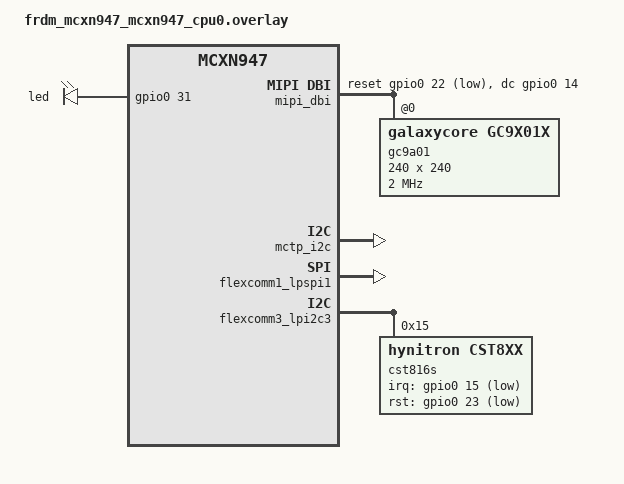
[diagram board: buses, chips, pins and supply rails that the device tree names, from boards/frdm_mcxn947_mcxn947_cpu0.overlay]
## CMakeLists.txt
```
# SPDX-License-Identifier: Apache-2.0

cmake_minimum_required(VERSION 3.20.0)

find_package(Zephyr REQUIRED HINTS $ENV{ZEPHYR_BASE})
project(display)

target_include_directories(app PRIVATE
    ../../mctp/common/include
)

FILE(GLOB app_sources src/*.c)
target_sources(app PRIVATE
    ${app_sources}
    ../../mctp/common/mctp.c
)
```

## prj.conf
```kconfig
CONFIG_LV_Z_MEM_POOL_SIZE=16384
CONFIG_MAIN_STACK_SIZE=4096

CONFIG_DISPLAY=y
CONFIG_DISPLAY_LOG_LEVEL_ERR=y

CONFIG_LOG=y

CONFIG_LVGL=y
CONFIG_LV_USE_LOG=y
CONFIG_LV_USE_LABEL=y
CONFIG_LV_USE_ARC=y
CONFIG_LV_USE_MONKEY=y
CONFIG_LV_FONT_MONTSERRAT_48=y

CONFIG_I2C=y
CONFIG_I2C_TARGET=y
CONFIG_MCTP=y
CONFIG_MCTP_I2C_GPIO_TARGET=y
CONFIG_SERIAL=y
CONFIG_UART_ASYNC_API=y
CONFIG_MCTP_UART=y
CONFIG_REQUIRES_FLOAT_PRINTF=y

CONFIG_LOG_BUFFER_SIZE=4096
```

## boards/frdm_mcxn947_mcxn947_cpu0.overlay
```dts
#include <zephyr/dt-bindings/display/panel.h>
#include <freq.h>

//mctp_serial: &arduino_serial {};

/ {

	/* VCC J3.4 */
	/* GND J3.14 */

	chosen {
		zephyr,display = &gc9a01;
		zephyr,touch = &cst816s;
	};

	mipi_dbi {
		compatible = "zephyr,mipi-dbi-spi";
		status = "okay";
		spi-dev = <&flexcomm1_lpspi1>;
		dc-gpios = <&gpio0 14 GPIO_ACTIVE_HIGH>; /* J4.6 */
		reset-gpios = <&gpio0 22 GPIO_ACTIVE_LOW>; /* J4.8 */
		#address-cells = <1>;
		#size-cells = <0>;
		write-only;

		gc9a01: gc9a01@0 {
			/* SCK J2.12 */
			/* MOSI J2.8 */
			/* MISO not used (J2.10) */
			/* CS J2.6 Buggy, connect to GND instead (J2.14) */
			compatible = "galaxycore,gc9x01x";
			reg = <0>;
			mipi-max-frequency = <DT_FREQ_M(2) >;
			pixel-format = <PANEL_PIXEL_FORMAT_RGB_565>;
			width = <240>;
			height = <240>;
			display-inversion;
		};
	};

	lvgl_pointer {
		compatible = "zephyr,lvgl-pointer-input";
		status = "okay";
		input = <&cst816s>;
	};

	lcd_backlight {
		compatible = "gpio-leds";
		status = "okay";

		led: led {
			gpios = <&gpio0 31 GPIO_ACTIVE_HIGH>; /* J1.16 */
		};
	};

	mctp_i2c: mctp_i2c {
		/* SDA J8.4 */
		/* SCL J8.3 */
		compatible = "zephyr,mctp-i2c-gpio-target";
		i2c = <&flexcomm2_lpi2c2>;
		i2c-addr = <70>;
		endpoint-id = <12>;
		/* GPIO J8.8 */
		endpoint-gpios = <&gpio0 7 GPIO_ACTIVE_HIGH>;
	};
};

&flexcomm1_lpspi1 {
	status = "okay";
};

&flexcomm3_lpi2c3 {
	status = "okay";
	/* SDA J5.6 */
	/* SCL J5.5 */
	cst816s: cst816s@15 {
		compatible = "hynitron,cst8xx";
		status = "okay";
		reg = <0x15>;
		irq-gpios = <&gpio0 15 GPIO_ACTIVE_LOW>; /* J4.10 */
		rst-gpios = <&gpio0 23 GPIO_ACTIVE_LOW>; /* J4.12 */
	};
};
```

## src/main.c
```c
/*
 * Copyright (c) 2018 Jan Van Winkel <jan.van_winkel@dxplore.eu>
 *
 * SPDX-License-Identifier: Apache-2.0
 */

#include <zephyr/device.h>
#include <zephyr/devicetree.h>
#include <zephyr/drivers/display.h>
#include <zephyr/drivers/gpio.h>
#include <zephyr/drivers/led.h>
#include <lvgl.h>
#include <stdio.h>
#include <string.h>
#include <zephyr/kernel.h>
#include <lvgl_input_device.h>

#include <math.h>
#include <libmctp.h>
#include <libmctp-cmds.h>
#include <control.h>
#include <zephyr/pmci/mctp/mctp_i2c_gpio_target.h>
#include <zephyr/pmci/mctp/mctp_uart.h>

#include <mctp.h>

#define LOG_LEVEL CONFIG_LOG_DEFAULT_LEVEL
#include <zephyr/logging/log.h>
LOG_MODULE_REGISTER(app);

#if DT_NODE_HAS_STATUS_OKAY(DT_NODELABEL(mctp_i2c))
MCTP_I2C_GPIO_TARGET_DT_DEFINE(mctp_endpoint, DT_NODELABEL(mctp_i2c));
#define LOCAL_EID mctp_endpoint.endpoint_id
#elif DT_NODE_HAS_STATUS_OKAY(DT_NODELABEL(mctp_serial))
MCTP_UART_DT_DEFINE(mctp_endpoint, DEVICE_DT_GET(DT_NODELABEL(mctp_serial)));
#define LOCAL_EID 12
#endif

#define EC_EID 20

#define MCTP_MESSAGE_TYPE_MASK 0x7F

struct temperature_data {
	double temperature;
	bool updated;
} __packed;
struct temperature_data temperature;
bool use_farenheit;

struct message {
	uintptr_t fifo;
	size_t len;
	uint8_t src_eid;
	bool tag_owner;
	uint8_t msg_tag;
	struct mctp_binding *binding;
	uint8_t data[];
};

K_FIFO_DEFINE(rx_fifo);

static void rx_message_handler(struct k_work *work)
{
	ARG_UNUSED(work);

	while (true) {
		struct message *rx_msg = k_fifo_get(&rx_fifo, K_NO_WAIT);
		if (!rx_msg) {
			break;
		}

		LOG_DBG("Processing MCTP control message from mctp endpoint %d, len %zu", rx_msg->src_eid, rx_msg->len);
		LOG_HEXDUMP_DBG(rx_msg->data, rx_msg->len, "MCTP control message");

		mctp_control_handler(rx_msg->binding->bus, rx_msg->src_eid, rx_msg->tag_owner,
				     rx_msg->msg_tag, rx_msg->data, rx_msg->len);

		free(rx_msg);
	}
}
K_WORK_DEFINE(rx_message_work, rx_message_handler);

static void rx_message(uint8_t eid, bool tag_owner, uint8_t msg_tag, void *data, void *msg,
		       size_t len)
{

	uint8_t *msg_buf = (uint8_t *)msg;

	if ((msg_buf[0] & MCTP_MESSAGE_TYPE_MASK) == MCTP_CTRL_HDR_MSG_TYPE) {
		struct message *rx_msg = malloc(sizeof(struct message) + len);

		if (!rx_msg) {
			LOG_ERR("Failed to allocate memory for incoming message");
			return;
		}
		rx_msg->len = len;
		rx_msg->src_eid = eid;
		rx_msg->tag_owner = tag_owner;
		rx_msg->msg_tag = msg_tag;
		rx_msg->binding = data;
		memcpy(rx_msg->data, msg_buf, len);
		k_fifo_put(&rx_fifo, rx_msg);
		k_work_submit(&rx_message_work);

		return;
	}

	if (eid == EC_EID) {
		temperature = *(struct temperature_data *)msg;
		LOG_INF("Controller EID message received: %.2f Up-to-date: %d", temperature.temperature,
			temperature.updated);
	}
}

#if DT_NODE_EXISTS(DT_NODELABEL(led))
static const struct device *lcd_bl = DEVICE_DT_GET(DT_PARENT(DT_NODELABEL(led)));
#endif

static void temperature_label_click_cb(lv_event_t *e)
{
	use_farenheit = !use_farenheit;

	LOG_INF("Temperature unit changed to %s", use_farenheit ? "Farenheit" : "Celsius");
}

int main(void)
{
	char temperature_str[12] = {0};
	const struct device *display_dev;
	lv_obj_t *temperature_label;
	int ret;
	lv_obj_t *arc;
	lv_style_t style_indic, style_text;
	struct mctp *mctp_ctx;

	LOG_INF("Display EID:%d on %s\n", LOCAL_EID, CONFIG_BOARD_TARGET);

	display_dev = DEVICE_DT_GET(DT_CHOSEN(zephyr_display));
	if (!device_is_ready(display_dev)) {
		LOG_ERR("Device not ready, aborting test");
		return 0;
	}

#if DT_NODE_EXISTS(DT_NODELABEL(led))
	led_on(lcd_bl, 0);
#endif

	mctp_ctx = mctp_init();
	__ASSERT_NO_MSG(mctp_ctx != NULL);
	mctp_register_bus(mctp_ctx, &mctp_endpoint.binding, LOCAL_EID);
	/* For some reason, libmctp doesn't add the base type by default */
	mctp_control_add_type(mctp_ctx, MCTP_MSG_TYPE_NUMBER_MCTP_BASE);
	mctp_set_rx_all(mctp_ctx, rx_message, &mctp_endpoint.binding);
#if DT_NODE_HAS_STATUS_OKAY(DT_NODELABEL(mctp_serial))
	mctp_uart_start_rx(&mctp_endpoint);
#endif

	lv_style_init(&style_indic);

	arc = lv_arc_create(lv_screen_active());
	lv_obj_center(arc);
	lv_obj_add_style(arc, &style_indic, LV_PART_INDICATOR);
	lv_obj_set_size(arc, 220, 220);
	lv_obj_remove_style(arc, NULL, LV_PART_KNOB);
	lv_obj_clear_flag(arc, LV_OBJ_FLAG_CLICKABLE);

	lv_style_init(&style_text);
	lv_style_set_text_font(&style_text, &lv_font_montserrat_48);

	temperature_label = lv_label_create(lv_screen_active());
	lv_obj_add_style(temperature_label, &style_text, 0);
	lv_label_set_text(temperature_label, "--");
	lv_obj_center(temperature_label);
	lv_obj_add_flag(temperature_label, LV_OBJ_FLAG_CLICKABLE);
	lv_obj_add_event_cb(temperature_label, temperature_label_click_cb, LV_EVENT_CLICKED, NULL);

	lv_timer_handler();
	ret = display_blanking_off(display_dev);
	if (ret < 0 && ret != -ENOSYS) {
		LOG_ERR("Failed to turn blanking off (error %d)", ret);
		return 0;
	}

	while (1) {
		double temp_clamped = temperature.temperature;

		if (isnan(temp_clamped) || temp_clamped < 0.0) {
			temp_clamped = 0.0;
		} else if (temp_clamped > 100.0) {
			temp_clamped = 100.0;
		}
		if (use_farenheit) {
			double temp_f = (temperature.temperature * 9.0 / 5.0) + 32.0;
			sprintf(temperature_str, "%.2f°F", temp_f);
		} else {
			sprintf(temperature_str, "%.2f°C", temperature.temperature);
		}
		lv_label_set_text(temperature_label, temperature_str);
		lv_arc_set_value(arc, (int)temp_clamped);

		if (temperature.updated) {
			lv_style_set_text_color(&style_text, lv_color_black());
		} else {
			lv_style_set_text_color(&style_text, lv_color_hex(0x888888));
		}

		/* Varies color from blue to red proportionaly to the 0-100 count */
		lv_style_set_arc_color(&style_indic,
			lv_color_mix(
				lv_palette_main(LV_PALETTE_RED),
				lv_palette_main(LV_PALETTE_BLUE),
				(temp_clamped / 100) * (255/100)));

		lv_timer_handler();
		/* Sleep just a little to keep responsive */
		k_sleep(K_MSEC(10));
	}
}
```
